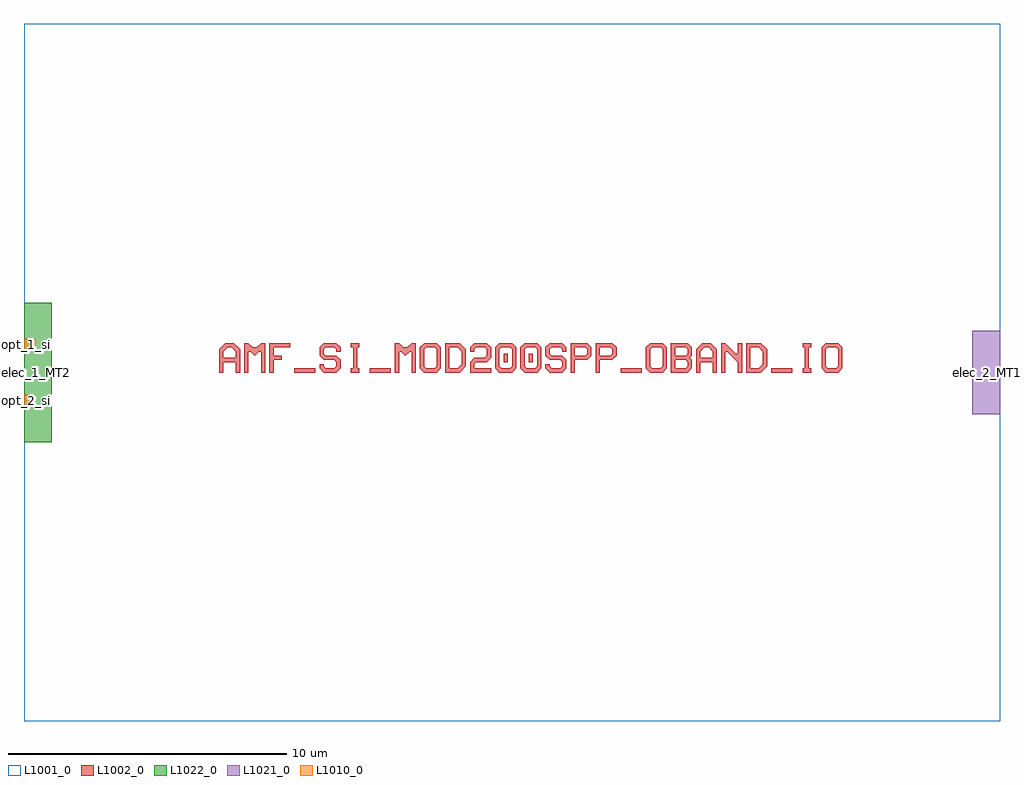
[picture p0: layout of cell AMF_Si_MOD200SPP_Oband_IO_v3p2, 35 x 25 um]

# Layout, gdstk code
import gdstk
lib = gdstk.Library(unit=1e-6, precision=1e-09)
def R(c, l, rs):  # rectangles x0, y0, x1, y1
    for r in rs: c.add(gdstk.rectangle(r[:2], r[2:], *l))
def P(c, l, *ps):  # polygons
    for p in ps: c.add(gdstk.Polygon(p, *l))
L1001_0 = (1001, 0)
L1002_0 = (1002, 0)
L1010_0 = (1010, 0)
L1021_0 = (1021, 0)
L1022_0 = (1022, 0)

amf_si_mod200spp_oband_i = lib.new_cell('AMF_Si_MOD200SPP_Oband_IO_v3p2')
R(amf_si_mod200spp_oband_i, L1001_0, [(0,-12.5,35,12.5)])
R(amf_si_mod200spp_oband_i, L1002_0, [(9.7,0,10.45,0.15), (12.4,0,13.15,0.15), (21.4,0,22.15,0.15), (26.8,0,27.55,0.15), (17.2,0.375,17.35,0.675), (18.1,0.375,18.25,0.675)])
P(amf_si_mod200spp_oband_i, L1002_0, [(7,0),(7,0.825),(7.225,1.05),(7.525,1.05),(7.675,0.9),(7.3,0.9),(7.15,0.75),(7.15,0.525),(7.6,0.525),(7.6,0.75),(7.45,0.9),(7.675,0.9),(7.75,0.825),(7.75,0),(7.6,0),(7.6,0.375),(7.15,0.375),(7.15,0)],
  [(7.9,0),(7.9,1.05),(8.05,1.05),(8.2,0.9),(8.35,0.9),(8.5,1.05),(8.65,1.05),(8.65,0),(8.5,0),(8.5,0.75),(8.425,0.75),(8.275,0.6),(8.125,0.75),(8.05,0.75),(8.05,0)],
  [(8.8,0),(8.8,1.05),(9.55,1.05),(9.55,0.9),(8.95,0.9),(8.95,0.6),(9.25,0.6),(9.25,0.45),(8.95,0.45),(8.95,0)],
  [(10.75,0),(10.6,0.15),(10.6,0.3),(10.75,0.3),(10.75,0.225),(10.825,0.15),(11.125,0.15),(11.2,0.225),(11.2,0.375),(11.125,0.45),(10.75,0.45),(10.6,0.6),(10.6,0.9),(10.75,1.05),(11.2,1.05),(11.35,0.9),(11.35,0.75),(11.2,0.75),(11.2,0.825),(11.125,0.9),(10.825,0.9),(10.75,0.825),(10.75,0.675),(10.825,0.6),(11.2,0.6),(11.35,0.45),(11.35,0.15),(11.2,0)],
  [(11.725,0),(11.725,0.15),(11.8,0.15),(11.8,0.9),(11.725,0.9),(11.725,1.05),(12.025,1.05),(12.025,0.9),(11.95,0.9),(11.95,0.15),(12.025,0.15),(12.025,0)],
  [(13.3,0),(13.3,1.05),(13.45,1.05),(13.6,0.9),(13.75,0.9),(13.9,1.05),(14.05,1.05),(14.05,0),(13.9,0),(13.9,0.75),(13.825,0.75),(13.675,0.6),(13.525,0.75),(13.45,0.75),(13.45,0)],
  [(14.35,0),(14.2,0.15),(14.2,0.9),(14.35,1.05),(14.8,1.05),(14.95,0.9),(14.95,0.525),(14.8,0.525),(14.8,0.825),(14.725,0.9),(14.425,0.9),(14.35,0.825),(14.35,0.225),(14.425,0.15),(14.725,0.15),(14.8,0.225),(14.8,0.525),(14.95,0.525),(14.95,0.15),(14.8,0)],
  [(15.1,0),(15.1,1.05),(15.625,1.05),(15.775,0.9),(15.25,0.9),(15.25,0.15),(15.55,0.15),(15.7,0.3),(15.7,0.75),(15.55,0.9),(15.775,0.9),(15.85,0.825),(15.85,0.225),(15.625,0)],
  [(16,0),(16,0.375),(16.15,0.525),(16.525,0.525),(16.6,0.6),(16.6,0.825),(16.525,0.9),(16.225,0.9),(16.15,0.825),(16.15,0.75),(16,0.75),(16,0.9),(16.15,1.05),(16.6,1.05),(16.75,0.9),(16.75,0.525),(16.6,0.375),(16.225,0.375),(16.15,0.3),(16.15,0.15),(16.75,0.15),(16.75,0)],
  [(17.05,0),(16.9,0.15),(16.9,0.9),(17.05,1.05),(17.5,1.05),(17.65,0.9),(17.125,0.9),(17.05,0.825),(17.05,0.225),(17.125,0.15),(17.425,0.15),(17.5,0.225),(17.5,0.825),(17.425,0.9),(17.65,0.9),(17.65,0.15),(17.5,0)],
  [(17.95,0),(17.8,0.15),(17.8,0.9),(17.95,1.05),(18.4,1.05),(18.55,0.9),(18.025,0.9),(17.95,0.825),(17.95,0.225),(18.025,0.15),(18.325,0.15),(18.4,0.225),(18.4,0.825),(18.325,0.9),(18.55,0.9),(18.55,0.15),(18.4,0)],
  [(18.85,0),(18.7,0.15),(18.7,0.3),(18.85,0.3),(18.85,0.225),(18.925,0.15),(19.225,0.15),(19.3,0.225),(19.3,0.375),(19.225,0.45),(18.85,0.45),(18.7,0.6),(18.7,0.9),(18.85,1.05),(19.3,1.05),(19.45,0.9),(19.45,0.75),(19.3,0.75),(19.3,0.825),(19.225,0.9),(18.925,0.9),(18.85,0.825),(18.85,0.675),(18.925,0.6),(19.3,0.6),(19.45,0.45),(19.45,0.15),(19.3,0)],
  [(19.6,0),(19.6,1.05),(20.2,1.05),(20.35,0.9),(20.35,0.6),(20.2,0.45),(19.75,0.45),(19.75,0.6),(20.125,0.6),(20.2,0.675),(20.2,0.825),(20.125,0.9),(19.75,0.9),(19.75,0)],
  [(20.5,0),(20.5,1.05),(21.1,1.05),(21.25,0.9),(21.25,0.6),(21.1,0.45),(20.65,0.45),(20.65,0.6),(21.025,0.6),(21.1,0.675),(21.1,0.825),(21.025,0.9),(20.65,0.9),(20.65,0)],
  [(22.45,0),(22.3,0.15),(22.3,0.9),(22.45,1.05),(22.9,1.05),(23.05,0.9),(23.05,0.525),(22.9,0.525),(22.9,0.825),(22.825,0.9),(22.525,0.9),(22.45,0.825),(22.45,0.225),(22.525,0.15),(22.825,0.15),(22.9,0.225),(22.9,0.525),(23.05,0.525),(23.05,0.15),(22.9,0)],
  [(23.2,0),(23.2,1.05),(23.8,1.05),(23.95,0.9),(23.35,0.9),(23.35,0.6),(23.725,0.6),(23.8,0.675),(23.8,0.825),(23.725,0.9),(23.95,0.9),(23.95,0.6),(23.875,0.525),(23.95,0.45),(23.35,0.45),(23.35,0.15),(23.725,0.15),(23.8,0.225),(23.8,0.375),(23.725,0.45),(23.95,0.45),(23.95,0.15),(23.8,0)],
  [(24.1,0),(24.1,0.825),(24.325,1.05),(24.625,1.05),(24.775,0.9),(24.4,0.9),(24.25,0.75),(24.25,0.525),(24.7,0.525),(24.7,0.75),(24.55,0.9),(24.775,0.9),(24.85,0.825),(24.85,0),(24.7,0),(24.7,0.375),(24.25,0.375),(24.25,0)],
  [(25,0),(25,1.05),(25.15,1.05),(25.525,0.675),(25.6,0.675),(25.6,1.05),(25.75,1.05),(25.75,0),(25.6,0),(25.6,0.375),(25.225,0.75),(25.15,0.75),(25.15,0)],
  [(25.9,0),(25.9,1.05),(26.425,1.05),(26.575,0.9),(26.05,0.9),(26.05,0.15),(26.35,0.15),(26.5,0.3),(26.5,0.75),(26.35,0.9),(26.575,0.9),(26.65,0.825),(26.65,0.225),(26.425,0)],
  [(27.925,0),(27.925,0.15),(28,0.15),(28,0.9),(27.925,0.9),(27.925,1.05),(28.225,1.05),(28.225,0.9),(28.15,0.9),(28.15,0.15),(28.225,0.15),(28.225,0)],
  [(28.75,0),(28.6,0.15),(28.6,0.9),(28.75,1.05),(29.2,1.05),(29.35,0.9),(29.35,0.525),(29.2,0.525),(29.2,0.825),(29.125,0.9),(28.825,0.9),(28.75,0.825),(28.75,0.225),(28.825,0.15),(29.125,0.15),(29.2,0.225),(29.2,0.525),(29.35,0.525),(29.35,0.15),(29.2,0)])
R(amf_si_mod200spp_oband_i, L1010_0, [(0,-1.205,0.41,-0.795), (0,0.795,0.41,1.205)])
R(amf_si_mod200spp_oband_i, L1021_0, [(34,-1.5,35,1.5)])
R(amf_si_mod200spp_oband_i, L1022_0, [(0,-2.5,1,2.5)])
amf_si_mod200spp_oband_i.add(gdstk.Label('opt_2_si', (0,-1), layer=1010, texttype=0))
amf_si_mod200spp_oband_i.add(gdstk.Label('opt_1_si', (0,1), layer=1010, texttype=0))
amf_si_mod200spp_oband_i.add(gdstk.Label('elec_1_MT2', (0,0), layer=1022, texttype=0))
amf_si_mod200spp_oband_i.add(gdstk.Label('elec_2_MT1', (35,0), layer=1021, texttype=0))

lib.write_gds('AMF_Si_MOD200SPP_Oband_IO_v3p2.gds')
